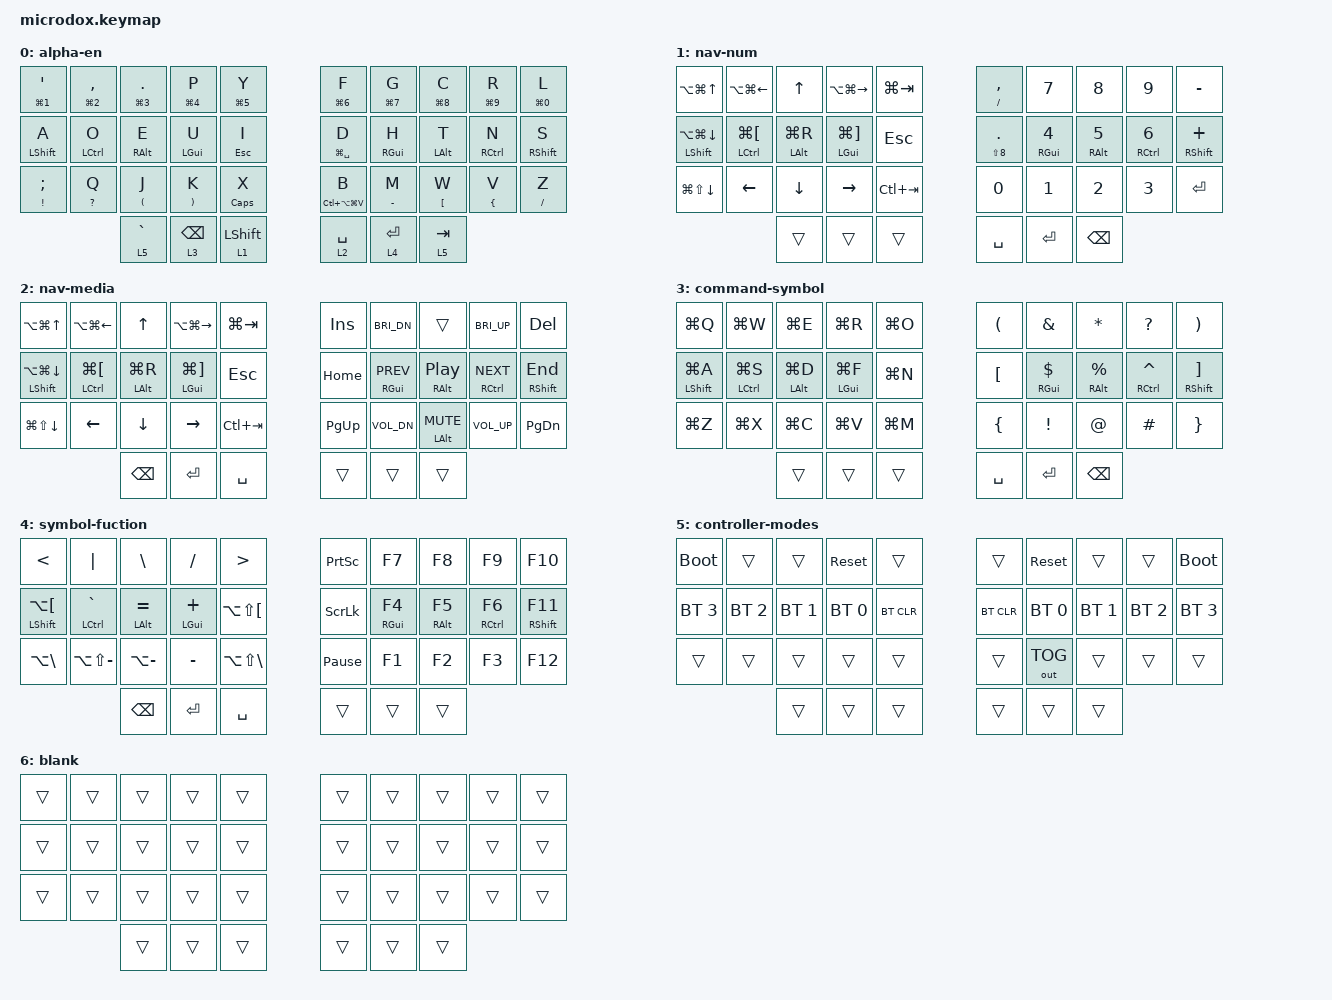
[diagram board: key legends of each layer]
#include <behaviors.dtsi>
#include <dt-bindings/zmk/keys.h>
#include <dt-bindings/zmk/bt.h>
#include <dt-bindings/zmk/ext_power.h>
#include <dt-bindings/zmk/outputs.h>

&sk {
    release-after-ms = <400>;
    quick-release;
    /delete-property/ ignore-modifiers;
};
&lt {
    quick-tap-ms = <200>;
};
// &mmv {
//     time-to-max-speed-ms = <1000>;
//     acceleration-exponent=<1>;
// };
// &mwh {
//     time-to-max-speed-ms = <2000>;
//     acceleration-exponent=<1>;
// };

/ {
    macros {
        h_t: hold_tap {
            compatible = "zmk,behavior-hold-tap";
            label = "HOLD-TAP";
            #binding-cells = <2>;
            tapping-term-ms = <150>;
            quick_tap_ms = <200>;
            flavor = "tap-preferred";
            bindings = <&kp>, <&kp>;
        };
        mr_t: mod-right_tap {
            compatible = "zmk,behavior-hold-tap";
            label = "RIGHT-MOD-TAP";
            #binding-cells = <2>;
            flavor = "balanced"; // nested keypresses trigger hold
            tapping-term-ms = <200>; // key-positions matter within the tapping term
            quick_tap_ms = <100>;
            global-quick-tap; // hold will not trigger within quickt_tap ms of previous key press
            bindings = <&kp>, <&kp>;
            hold-trigger-on-release; //allows using multiple mods on one hand
            hold-trigger-key-positions = // works with left hand only
                <0  1  2  3  4 \
                10 11 12 13 14 \
                20 21 22 23 24 \
                30 31 32>;
                // <RC(0,0) RC(0,1) RC(0,2) RC(0,3) RC(0,4) 
                // RC(1,0) RC(1,1) RC(1,2) RC(1,3) RC(1,4) 
                // RC(2,0) RC(2,1) RC(2,2) RC(2,3) RC(2,4) 
                // RC(3,2) RC(3,3) RC(3,4) 
                // >;
        };
        ml_t: mod-left_tap {
            compatible = "zmk,behavior-hold-tap";
            label = "MOD-LEFT-TAP";
            #binding-cells = <2>;
            flavor = "balanced";
            tapping-term-ms = <200>;
            quick_tap_ms = <100>;
            global-quick-tap;
            hold-trigger-on-release;
            bindings = <&kp>, <&kp>;
            hold-trigger-key-positions =
                <5  6  7  8  9 \
                15 16 17 18 19 \
                25 26 27 28 29 \
                33 34 35>; // These three don't seem to make any difference
                // <RC(0,5) RC(0,6) RC(0,7) RC(0,8) RC(0,9) 
                // RC(1,5) RC(1,6) RC(1,7) RC(1,8) RC(1,9) 
                // RC(2,5) RC(2,6) RC(2,7) RC(2,8) RC(2,9) 
                // RC(3,5) RC(3,6) RC(3,7)
                // >;
        };
        sr_t: shift-right_tap {
            compatible = "zmk,behavior-hold-tap";
            label = "SHIFT-TAP-RIGHT";
            #binding-cells = <2>;
            tapping-term-ms = <120>;
            quick_tap_ms = <100>;
            flavor = "balanced";
            global-quick-tap;
            bindings = <&kp>, <&kp>;
            hold-trigger-on-release;
            hold-trigger-key-positions =
                 <0 1 2 3 4 \
                10 11 12 13 14 \
                20 21 22 23 24 \
                30 32 33>;
        };
        sl_t: shift-left_tap {
            compatible = "zmk,behavior-hold-tap";
            label = "SHIFT-TAP-LEFT";
            #binding-cells = <2>;
            tapping-term-ms = <120>;
            quick_tap_ms = <100>;
            flavor = "balanced";
            global-quick-tap;
            bindings = <&kp>, <&kp>;
            hold-trigger-on-release;
            hold-trigger-key-positions =
                <5 6 7 8 9 \
                15 16 17 18 19 \
                25 26 27 28 29 \
                34 35 36>;
        };
        l_st: layer_shift-tap {
            compatible = "zmk,behavior-hold-tap";
            label = "LAYER-STICKY-TAP";
            #binding-cells = <2>;
            tapping-term-ms = <150>;
            quick_tap_ms = <100>;
            global-quick-tap;
            flavor = "tap-preferred";
            bindings = <&mo>, <&sk>;
        };
    };

    keymap {
        compatible = "zmk,keymap";
        
        alpha-en {
            bindings = <
                // ╭───────────────┬───────────────────┬───────────────┬───────────────┬───────────────────╮       ╭───────────────┬───────────────┬───────────────┬───────────────┬──────────────╮
                    &h_t LG(N1) SQT &h_t LG(N2) COMMA   &h_t LG(N3) DOT &h_t LG(N4) P   &h_t LG(N5) Y               &h_t LG(N6) F   &h_t LG(N7) G    &h_t LG(N8) C  &h_t LG(N9) R   &h_t LG(N0) L  
                // ├───────────────┼───────────────────┼───────────────┼───────────────┼───────────────────┤       ├───────────────┼───────────────┼───────────────┼───────────────┼──────────────┤
                    &sl_t LSHFT A   &ml_t LCTRL O       &ml_t RALT E    &ml_t LGUI U    &h_t ESC I                  &h_t LG(SPACE) D &mr_t RGUI H   &mr_t LALT T    &mr_t RCTRL N   &sr_t RSHFT S  
                // ├───────────────┼───────────────────┼───────────────┼───────────────┼───────────────────┤       ├───────────────┼───────────────┼───────────────┼───────────────┼──────────────┤
                    &h_t EXCL SEMI  &h_t QMARK Q        &h_t LPAR J     &h_t RPAR K     &h_t CAPS X                 &h_t LC(LA(LG(V))) B &h_t MINUS M &h_t LBKT W   &h_t LBRC V     &h_t FSLH Z    
                // ╰───────────────┼───────────────────┼───────────────┼───────────────┼───────────────────┤       ├───────────────┼───────────────┼───────────────┼───────────────┼──────────────╯
                                                        &lt 5 GRAVE     &lt 3 BSPC      &l_st 1 LSHFT               &lt 2 SPACE     &lt 4 RET       &lt 5 TAB                                      
                //                                     ╰───────────────┴───────────────┴───────────────────╯       ╰───────────────┴───────────────┴───────────────╯                               
            >;
        };

    nav-num {
            bindings = <
                // ╭───────────────────┬───────────────────────┬───────────────┬───────────────────┬───────────╮   ╭───────────────┬───────────────┬───────────────┬───────────────┬──────────────╮
                    &kp LA(LG(UP))      &kp LA(LG(LEFT))        &kp UP          &kp LA(LG(RIGHT))   &kp LG(TAB)     &h_t SLASH COMMA &kp N7         &kp N8          &kp N9          &kp MINUS      
                // ├───────────────────┼───────────────────────┼───────────────┼───────────────────┼───────────┤   ├───────────────┼───────────────┼───────────────┼───────────────┼──────────────┤
                    &sl_t LSHFT LA(LG(DOWN))  &ml_t LCTRL LG(LBKT) &ml_t LALT LG(R) &ml_t LGUI LG(RBKT) &kp ESC     &h_t LS(N8) DOT &mr_t RGUI N4   &mr_t RALT N5   &mr_t RCTRL N6  &sr_t RSHFT PLUS
                // ├───────────────────┼───────────────────────┼───────────────┼───────────────────┼───────────┤   ├───────────────┼───────────────┼───────────────┼───────────────┼──────────────┤
                    &kp  LG(LS(DOWN))   &kp LEFT                &kp DOWN        &kp RIGHT           &kp LC(TAB)     &kp N0          &kp N1          &kp N2          &kp N3          &kp ENTER
                // ╰───────────────────┼───────────────────────┼───────────────┼───────────────────┼───────────┤   ├───────────────┼───────────────┼───────────────┼───────────────┼──────────────╯
                                                                &trans          &trans              &trans          &kp SPACE       &kp RET         &kp BSPC                                       
                //                                             ╰───────────────┴───────────────────┴───────────╯   ╰───────────────┴───────────────┴───────────────╯                               
            >;
        };
        
        nav-media {
            bindings = <
                // ╭───────────────────┬───────────────────────┬───────────────┬───────────────────┬───────────╮   ╭───────────────┬───────────────────┬───────────────────┬───────────────────┬────────────────────╮
                    &kp LA(LG(UP))      &kp LA(LG(LEFT))        &kp UP          &kp LA(LG(RIGHT))   &kp LG(TAB)     &kp INS         &kp C_BRI_DN        &trans              &kp C_BRI_UP        &kp DEL              
                // ├───────────────────┼───────────────────────┼───────────────┼───────────────────┼───────────┤   ├───────────────┼───────────────────┼───────────────────┼───────────────────┼────────────────────┤
                    &sl_t LSHFT LA(LG(DOWN))  &ml_t LCTRL LG(LBKT) &ml_t LALT LG(R) &ml_t LGUI LG(RBKT) &kp ESC     &kp HOME        &mr_t RGUI C_PREV   &mr_t RALT C_PP     &mr_t  RCTRL C_NEXT &sr_t  RSHFT  END    
                // ├───────────────────┼───────────────────────┼───────────────┼───────────────────┼───────────┤   ├───────────────┼───────────────────┼───────────────────┼───────────────────┼────────────────────┤
                    &kp  LG(LS(DOWN))   &kp LEFT                &kp DOWN        &kp RIGHT           &kp LC(TAB)     &kp PG_UP       &kp C_VOL_DN        &mr_t LALT C_MUTE   &kp C_VOL_UP        &kp PG_DN            
                // ╰───────────────────┼───────────────────────┼───────────────┼───────────────────┼───────────┤   ├───────────────┼───────────────────┼───────────────────┼───────────────────┼────────────────────╯
                                                                &kp BSPC          &kp RET           &kp SPACE       &trans          &trans              &trans                                                       
                //                                             ╰───────────────┴───────────────────┴───────────╯   ╰───────────────┴───────────────────┴───────────────────╯                                         
            >;
        };
        
        command-symbol {
            bindings = < 
                // ╭───────────────────┬───────────────────┬───────────────┬───────────────┬─────────╮     ╭───────────────┬───────────────┬───────────────┬───────────────────┬────────────────────╮
                    &kp LG(Q)           &kp LG(W)           &kp LG(E)       &kp LG(R)       &kp LG(O)       &kp LPAR        &kp AMPS        &kp STAR        &kp QMARK           &kp RPAR             
                // ├───────────────────┼───────────────────┼───────────────┼───────────────┼─────────┤     ├───────────────┼───────────────┼───────────────┼───────────────────┼────────────────────┤
                    &sl_t LSHFT LG(A)   &ml_t LCTRL LG(S)   &ml_t LALT LG(D) &ml_t LGUI LG(F) &kp LG(N)     &kp LBKT        &mr_t RGUI DLLR &mr_t RALT PRCNT &mr_t RCTRL CARET  &sr_t RSHFT RBKT     
                // ├───────────────────┼───────────────────┼───────────────┼───────────────┼─────────┤     ├───────────────┼───────────────┼───────────────┼───────────────────┼────────────────────┤
                    &kp LG(Z)           &kp LG(X)           &kp LG(C)       &kp LG(V)       &kp LG(M)       &kp LBRC        &kp EXCL        &kp AT          &kp HASH            &kp RBRC             
                // ╰───────────────────┼───────────────────┼───────────────┼───────────────┼─────────┤     ├───────────────┼───────────────┼───────────────┼───────────────────┼────────────────────╯
                                                            &trans          &trans          &trans          &kp SPACE       &kp RET         &kp BSPC                                                 
                //                                         ╰───────────────┴───────────────┴─────────╯     ╰───────────────┴───────────────┴───────────────╯                                         
            >;
        };
        
        symbol-fuction {
            bindings = <
                // ╭───────────────────┬───────────────────┬───────────────────┬───────────────────────┬──────────────────────╮    ╭───────────────┬───────────────┬───────────────┬───────────────┬─────────────────╮
                    &kp LT              &kp PIPE            &kp BSLH            &kp FSLH                &kp GT                      &kp PSCRN       &kp F7          &kp F8          &kp F9          &kp F10           
                // ├───────────────────┼───────────────────┼───────────────────┼───────────────────────┼──────────────────────┤    ├───────────────┼───────────────┼───────────────┼───────────────┼─────────────────┤
                    &sl_t LSHFT LA(LBKT) &ml_t LCTRL GRAVE   &ml_t LALT EQUAL    &ml_t LGUI PLUS         &kp LA(LS(LBKT))           &kp SLCK        &mr_t RGUI F4    &mr_t RALT F5  &mr_t RCTRL F6   &sr_t  RSHFT F11 
                // ├───────────────────┼───────────────────┼───────────────────┼───────────────────────┼──────────────────────┤    ├───────────────┼───────────────┼───────────────┼───────────────┼─────────────────┤
                    &kp LA(BSLH)        &kp LA(LS(MINUS))   &kp LA(MINUS)       &kp MINUS               &kp LA(LS(BSLH))            &kp PAUSE_BREAK &kp F1          &kp F2          &kp F3          &kp F12           
                // ╰───────────────────┼───────────────────┼───────────────────┼───────────────────────┼──────────────────────┤    ╰───────────────┼───────────────┼───────────────┼───────────────┼─────────────────┤
                                                            &kp BSPC            &kp RET                 &kp SPACE                   &trans          &trans          &trans                                            
                //                                         ╰───────────────────┴───────────────────────┴──────────────────────╯    ╰───────────────┴───────────────┴───────────────╯                                  
            >;
        };

        controller-modes {
            bindings = <
                // ╭───────────┬───────────────┬───────────────┬───────────────┬─────────────╮     ╭───────────┬───────────────┬───────────────┬───────────────┬──────────────╮
                    &bootloader &trans          &trans          &sys_reset      &trans              &trans      &sys_reset          &trans          &trans          &bootloader
                // ├───────────┼───────────────┼───────────────┼───────────────┼─────────────┤     ├───────────┼───────────────┼───────────────┼───────────────┼──────────────┤
                    &bt BT_SEL 3  &bt BT_SEL 2  &bt BT_SEL 1    &bt BT_SEL 0    &bt BT_CLR          &bt BT_CLR  &bt BT_SEL 0    &bt BT_SEL 1    &bt BT_SEL 2    &bt BT_SEL 3   
                // ├───────────┼───────────────┼───────────────┼───────────────┼─────────────┤     ├───────────┼───────────────┼───────────────┼───────────────┼──────────────┤
                    &trans      &trans          &trans          &trans          &trans              &trans      &out OUT_TOG    &trans          &trans          &trans         
                // ╰───────────┼───────────────┼───────────────┼───────────────┼─────────────┤     ├───────────┼───────────────┼───────────────┼───────────────┼──────────────╯
                                                &trans          &trans          &trans              &trans          &trans          &trans                                     
                //                             ╰───────────────┴───────────────┴─────────────╯     ╰───────────┴───────────────┴───────────────╯                               
            >;
        };

        // not in use
        blank {
            bindings = <
                // ╭───────────┬───────────┬───────────┬───────────┬─────────────╮     ╭───────────┬───────────┬───────────┬───────────┬──────────────╮
                    &trans      &trans      &trans      &trans      &trans              &trans      &trans      &trans      &trans      &trans         
                // ├───────────┬───────────┬───────────┬───────────┬─────────────┤     ├───────────┬───────────┬───────────┬───────────┬──────────────┤
                    &trans      &trans      &trans      &trans      &trans              &trans      &trans      &trans      &trans      &trans         
                // ├───────────┬───────────┬───────────┬───────────┬─────────────┤     ├───────────┬───────────┬───────────┬───────────┬──────────────┤
                    &trans      &trans      &trans      &trans      &trans              &trans      &trans      &trans      &trans      &trans         
                // ╰───────────┴───────────┬───────────┬───────────┬─────────────┤     ├───────────┬───────────┬───────────┴───────────┴──────────────╯
                                            &trans      &trans      &trans              &trans      &trans      &trans                                 
                //                         ╰───────────┴─────── ───┴─────────────╯     ╰───────────┴───────────┴───────────╯                           
            >;
        };
    };
};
